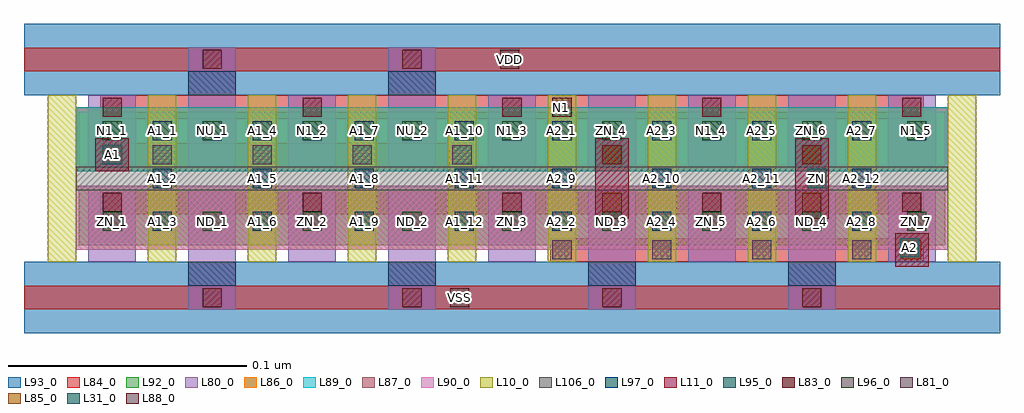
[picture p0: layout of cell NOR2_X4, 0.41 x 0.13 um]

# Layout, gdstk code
import gdstk
lib = gdstk.Library(unit=1e-6, precision=1e-09)
def R(c, l, rs):  # rectangles x0, y0, x1, y1
    for r in rs: c.add(gdstk.rectangle(r[:2], r[2:], *l))
def A(c, l, x, y, w, h, nx, ny, dx, dy):  # array of equal rectangles
    R(c, l, [(x+i*dx, y+j*dy, x+i*dx+w, y+j*dy+h) for i in range(nx) for j in range(ny)])
L10_0 = (10, 0)
L11_0 = (11, 0)
L31_0 = (31, 0)
L80_0 = (80, 0)
L81_0 = (81, 0)
L83_0 = (83, 0)
L84_0 = (84, 0)
L85_0 = (85, 0)
L86_0 = (86, 0)
L87_0 = (87, 0)
L88_0 = (88, 0)
L89_0 = (89, 0)
L90_0 = (90, 0)
L92_0 = (92, 0)
L93_0 = (93, 0)
L95_0 = (95, 0)
L96_0 = (96, 0)
L97_0 = (97, 0)
L106_0 = (106, 0)

nor2_x4 = lib.new_cell('NOR2_X4')
A(nor2_x4, L10_0, -0.027, 0.015, 0.012, 0.07, 10, 1, 0.042, 0)
R(nor2_x4, L11_0, [(0.329,0.013,0.343,0.027), (0.203,0.033,0.217,0.067), (0.287,0.033,0.301,0.067), (-0.007,0.053,0.007,0.067)])
R(nor2_x4, L31_0, [(0.331,0.017,0.339,0.025), (0.292,0.046,0.3,0.054), (-0.004,0.056,0.004,0.064)])
A(nor2_x4, L80_0, 0.032, -0.005, 0.02, 0.03, 4, 1, 0.084, 0)
A(nor2_x4, L80_0, -0.01, 0.015, 0.02, 0.03, 9, 2, 0.042, 0.04)
R(nor2_x4, L80_0, [(0.032,0.075,0.052,0.105), (0.116,0.075,0.136,0.105)])
A(nor2_x4, L81_0, 0.185, 0.016, 0.008, 0.008, 4, 1, 0.042, 0)
A(nor2_x4, L81_0, 0.017, 0.056, 0.008, 0.008, 4, 1, 0.042, 0)
A(nor2_x4, L83_0, 0.038, -0.004, 0.008, 0.008, 4, 1, 0.084, 0)
A(nor2_x4, L83_0, -0.004, 0.036, 0.008, 0.008, 5, 2, 0.084, 0.04)
R(nor2_x4, L83_0, [(0.206,0.056,0.214,0.064), (0.29,0.056,0.298,0.064), (0.038,0.096,0.046,0.104), (0.122,0.096,0.13,0.104)])
A(nor2_x4, L84_0, 0.184, 0.015, 0.031, 0.01, 5, 1, 0.021, 0)
A(nor2_x4, L84_0, -0.005, 0.035, 0.031, 0.01, 16, 2, 0.021, 0.04)
A(nor2_x4, L84_0, 0.037, 0.055, 0.031, 0.01, 5, 1, 0.021, 0)
R(nor2_x4, L84_0, [(-0.037,-0.005,0.373,0.005), (0.289,0.015,0.341,0.025), (-0.005,0.055,0.047,0.065), (0.205,0.055,0.215,0.065), (0.289,0.055,0.299,0.065), (-0.037,0.095,0.373,0.105)])
R(nor2_x4, L85_0, [(0.332,0.016,0.34,0.024), (0.206,0.036,0.214,0.044), (0.29,0.036,0.298,0.044), (-0.004,0.056,0.004,0.064), (0.206,0.056,0.214,0.064), (0.29,0.056,0.298,0.064)])
R(nor2_x4, L86_0, [(-0.015,0.053,0.351,0.08)])
R(nor2_x4, L87_0, [(-0.015,0.02,0.351,0.047)])
R(nor2_x4, L88_0, [(0.142,-0.004,0.15,0.004), (0.185,0.076,0.193,0.084), (0.163,0.096,0.171,0.104)])
R(nor2_x4, L89_0, [(-0.015,0.053,0.351,0.08)])
R(nor2_x4, L90_0, [(-0.015,0.02,0.351,0.047)])
R(nor2_x4, L92_0, [(-0.014,0.022,0.35,0.045), (-0.014,0.055,0.35,0.078)])
R(nor2_x4, L93_0, [(-0.037,-0.015,0.373,0.015), (-0.037,0.085,0.373,0.115)])
A(nor2_x4, L95_0, 0.032, 0.005, 0.02, 0.01, 4, 1, 0.084, 0)
R(nor2_x4, L95_0, [(0.032,0.085,0.052,0.095), (0.116,0.085,0.136,0.095)])
A(nor2_x4, L96_0, -0.004, 0.028, 0.008, 0.008, 8, 2, 0.042, 0.038)
R(nor2_x4, L96_0, [(0.334,0.028,0.342,0.036), (0.334,0.066,0.342,0.074)])
A(nor2_x4, L97_0, 0.185, 0.028, 0.008, 0.008, 4, 2, 0.042, 0.018)
A(nor2_x4, L97_0, 0.185, 0.066, 0.008, 0.008, 4, 1, 0.042, 0)
R(nor2_x4, L97_0, [(0.017,0.028,0.025,0.036), (0.059,0.028,0.067,0.036), (0.102,0.028,0.11,0.036), (0.144,0.028,0.152,0.036), (0.017,0.046,0.025,0.054), (0.059,0.046,0.067,0.054), (0.102,0.046,0.11,0.054), (0.144,0.046,0.152,0.054), (0.017,0.066,0.025,0.074), (0.059,0.066,0.067,0.074), (0.102,0.066,0.11,0.074), (0.144,0.066,0.152,0.074)])
R(nor2_x4, L106_0, [(-0.015,0.045,0.351,0.055)])
nor2_x4.add(gdstk.Label('ZN', (0.296,0.05), layer=31, texttype=0))
nor2_x4.add(gdstk.Label('A2', (0.335,0.021), layer=31, texttype=0))
nor2_x4.add(gdstk.Label('A1', (0,0.06), layer=31, texttype=0))
nor2_x4.add(gdstk.Label('A1_12', (0.148,0.032), layer=97, texttype=0))
nor2_x4.add(gdstk.Label('A1_11', (0.148,0.05), layer=97, texttype=0))
nor2_x4.add(gdstk.Label('A1_10', (0.148,0.07), layer=97, texttype=0))
nor2_x4.add(gdstk.Label('A1_9', (0.106,0.032), layer=97, texttype=0))
nor2_x4.add(gdstk.Label('A1_8', (0.106,0.05), layer=97, texttype=0))
nor2_x4.add(gdstk.Label('A1_7', (0.106,0.07), layer=97, texttype=0))
nor2_x4.add(gdstk.Label('A2_7', (0.315,0.07), layer=97, texttype=0))
nor2_x4.add(gdstk.Label('A2_6', (0.273,0.032), layer=97, texttype=0))
nor2_x4.add(gdstk.Label('A2_11', (0.273,0.05), layer=97, texttype=0))
nor2_x4.add(gdstk.Label('A2_5', (0.273,0.07), layer=97, texttype=0))
nor2_x4.add(gdstk.Label('A2_3', (0.231,0.07), layer=97, texttype=0))
nor2_x4.add(gdstk.Label('A2_10', (0.231,0.05), layer=97, texttype=0))
nor2_x4.add(gdstk.Label('A2_8', (0.315,0.032), layer=97, texttype=0))
nor2_x4.add(gdstk.Label('A2_12', (0.315,0.05), layer=97, texttype=0))
nor2_x4.add(gdstk.Label('A2_4', (0.231,0.032), layer=97, texttype=0))
nor2_x4.add(gdstk.Label('A2_2', (0.189,0.032), layer=97, texttype=0))
nor2_x4.add(gdstk.Label('A2_9', (0.189,0.05), layer=97, texttype=0))
nor2_x4.add(gdstk.Label('A2_1', (0.189,0.07), layer=97, texttype=0))
nor2_x4.add(gdstk.Label('A1_4', (0.063,0.07), layer=97, texttype=0))
nor2_x4.add(gdstk.Label('A1_5', (0.063,0.05), layer=97, texttype=0))
nor2_x4.add(gdstk.Label('A1_6', (0.063,0.032), layer=97, texttype=0))
nor2_x4.add(gdstk.Label('A1_1', (0.021,0.07), layer=97, texttype=0))
nor2_x4.add(gdstk.Label('A1_2', (0.021,0.05), layer=97, texttype=0))
nor2_x4.add(gdstk.Label('A1_3', (0.021,0.032), layer=97, texttype=0))
nor2_x4.add(gdstk.Label('ZN_4', (0.21,0.07), layer=96, texttype=0))
nor2_x4.add(gdstk.Label('ND_3', (0.21,0.032), layer=96, texttype=0))
nor2_x4.add(gdstk.Label('N1_4', (0.252,0.07), layer=96, texttype=0))
nor2_x4.add(gdstk.Label('ZN_6', (0.294,0.07), layer=96, texttype=0))
nor2_x4.add(gdstk.Label('ND_4', (0.294,0.032), layer=96, texttype=0))
nor2_x4.add(gdstk.Label('ZN_5', (0.252,0.032), layer=96, texttype=0))
nor2_x4.add(gdstk.Label('N1_5', (0.338,0.07), layer=96, texttype=0))
nor2_x4.add(gdstk.Label('ZN_7', (0.338,0.032), layer=96, texttype=0))
nor2_x4.add(gdstk.Label('N1_3', (0.168,0.07), layer=96, texttype=0))
nor2_x4.add(gdstk.Label('ZN_3', (0.168,0.032), layer=96, texttype=0))
nor2_x4.add(gdstk.Label('ND_2', (0.126,0.032), layer=96, texttype=0))
nor2_x4.add(gdstk.Label('NU_2', (0.126,0.07), layer=96, texttype=0))
nor2_x4.add(gdstk.Label('NU_1', (0.042,0.07), layer=96, texttype=0))
nor2_x4.add(gdstk.Label('ZN_2', (0.084,0.032), layer=96, texttype=0))
nor2_x4.add(gdstk.Label('N1_2', (0.084,0.07), layer=96, texttype=0))
nor2_x4.add(gdstk.Label('N1_1', (0,0.07), layer=96, texttype=0))
nor2_x4.add(gdstk.Label('ZN_1', (0,0.032), layer=96, texttype=0))
nor2_x4.add(gdstk.Label('ND_1', (0.042,0.032), layer=96, texttype=0))
nor2_x4.add(gdstk.Label('VDD', (0.167,0.1), layer=88, texttype=0))
nor2_x4.add(gdstk.Label('VSS', (0.146,0), layer=88, texttype=0))
nor2_x4.add(gdstk.Label('N1', (0.189,0.08), layer=88, texttype=0))

lib.write_gds('NOR2_X4.gds')
